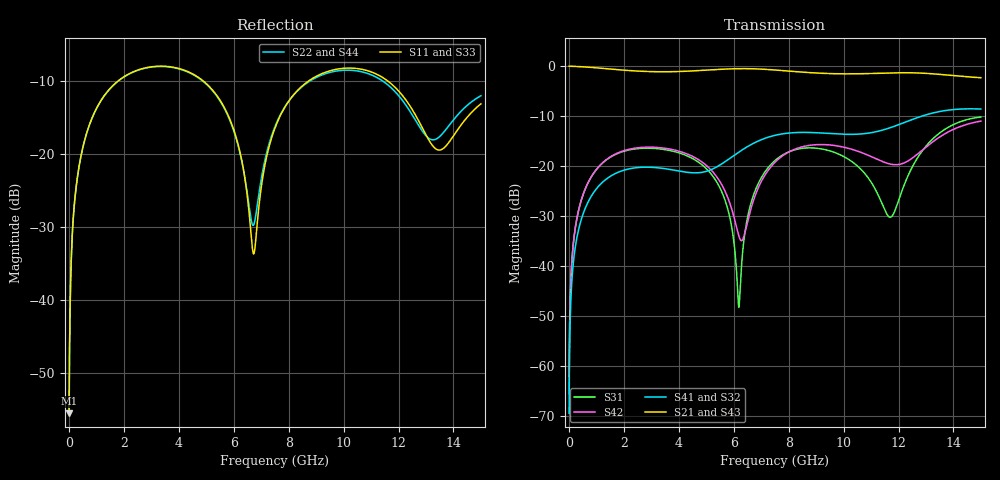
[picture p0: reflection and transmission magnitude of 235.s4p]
! Created with skrf 1.8.0 (http://scikit-rf.org).
# GHz S RI R 50.0
!freq ReS11 ImS11 ReS12 ImS12 ReS13 ImS13
! ReS14 ImS14
! ReS21 ImS21 ReS22 ImS22 ReS23 ImS23
! ReS24 ImS24
! ReS31 ImS31 ReS32 ImS32 ReS33 ImS33
! ReS34 ImS34
! ReS41 ImS41 ReS42 ImS42 ReS43 ImS43
! ReS44 ImS44
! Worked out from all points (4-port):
!   2499 points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, 5 MHz to 15 GHz, reference 50 ohm
!   strongest paths, dB at 5 MHz, 3.476 GHz, 7.19 GHz, 11.1 GHz, 15 GHz:
!     S21: 0.0, -1.1, -0.7, -1.5, -2.3
!     S43: 0.0, -1.1, -0.7, -1.5, -2.3
!     S41: -69.6, -20.5, -14.4, -13.2, -8.6
!     S32: -69.6, -20.5, -14.4, -13.2, -8.6
!     S42: -65.6, -16.4, -21.4, -18.4, -11.0
!     S31: -65.6, -16.7, -20.8, -24.1, -10.2
!   lowest |S11| = -55.5 dB at 5 MHz (marker M1), VSWR 1.00, Z = 50.1 + j0.102 ohm
!   |S11| at or under -10 dB: start of sweep to 1.809 GHz; 4.869 GHz to 8.749 GHz (3.88 GHz wide, 57 % of centre); 11.59 GHz to end of sweep
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0.005  0.00134 0.00102  0.9986 -0.00261  6.6e-05 0.000519  -6.43e-05 -0.000327
       0.9986 -0.00261  0.00134 0.00102  -6.43e-05 -0.000327  6.61e-05 0.000518
       6.6e-05 0.000519  -6.43e-05 -0.000327  0.00134 0.00102  0.9986 -0.00261
       -6.43e-05 -0.000327  6.61e-05 0.000518  0.9986 -0.00261  0.00134 0.00102
0.4126719  0.0261 0.0875  0.9639 -0.213  0.0119 0.0403  -0.0101 -0.025
           0.9639 -0.213  0.0261 0.0875  -0.0101 -0.025  0.0124 0.0402
           0.0119 0.0403  -0.0101 -0.025  0.0261 0.0875  0.9639 -0.213
           -0.0101 -0.025  0.0124 0.0402  0.9639 -0.213  0.0261 0.0875
1.925802  0.2756 0.1783  0.5406 -0.7366  0.1236 0.0621  -0.0892 -0.00483
          0.5406 -0.7366  0.2737 0.1796  -0.0892 -0.00478  0.1289 0.0547
          0.1236 0.0621  -0.0892 -0.00478  0.2756 0.1783  0.5406 -0.7366
          -0.0892 -0.00483  0.1289 0.0547  0.5406 -0.7366  0.2737 0.1796
6.183827  0.0454 -0.1013  -0.8936 -0.3015  0.00382 0.000347  -0.0402 0.1315
          -0.8936 -0.3015  0.0555 -0.0942  -0.0392 0.1318  -0.0176 -0.00947
          0.00382 0.000347  -0.0392 0.1318  0.0474 -0.1008  -0.8937 -0.3013
          -0.0402 0.1315  -0.0176 -0.00947  -0.8937 -0.3013  0.0536 -0.0949
6.665277  0.0205 -0.0125  -0.9379 -0.078  0.0106 0.0447  -0.0103 0.1653
          -0.9379 -0.078  0.0323 -0.00838  -0.00901 0.1652  -0.00655 0.0401
          0.0106 0.0447  -0.00901 0.1652  0.0229 -0.0124  -0.9379 -0.0778
          -0.0103 0.1653  -0.00655 0.0401  -0.9379 -0.0778  0.0298 -0.00853
10.65444  0.3715 -0.0679  0.1115 0.8314  0.0686 -0.06  0.1996 -0.0631
          0.1115 0.8314  0.3585 -0.0574  0.199 -0.0646  0.0609 -0.1217
          0.0686 -0.06  0.199 -0.0646  0.3717 -0.0718  0.1119 0.831
          0.1996 -0.0631  0.0609 -0.1217  0.1119 0.831  0.3598 -0.0543
15  0.2104 0.0611  0.6511 -0.4023  0.2482 0.1843  -0.2579 -0.2679
    0.6511 -0.4023  0.2431 0.0539  -0.2614 -0.2653  0.2143 0.1822
    0.2482 0.1843  -0.2614 -0.2653  0.2119 0.0616  0.6495 -0.4035
    -0.2579 -0.2679  0.2143 0.1822  0.6495 -0.4035  0.2458 0.0574
